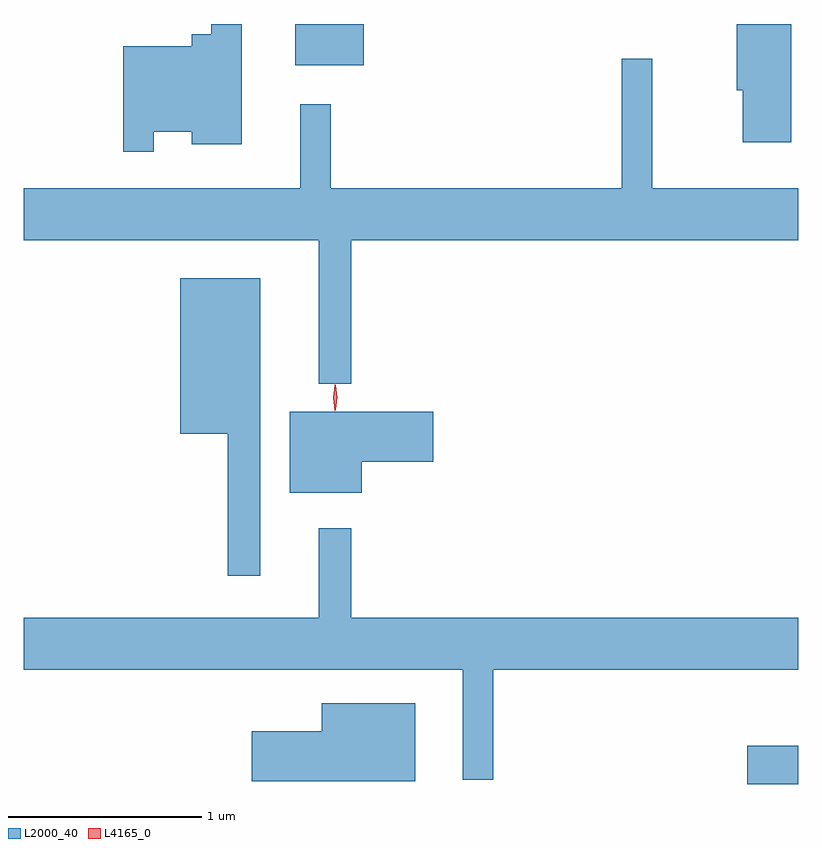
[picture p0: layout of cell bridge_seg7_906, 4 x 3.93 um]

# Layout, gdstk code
import gdstk
lib = gdstk.Library(unit=1e-6, precision=1e-09)
def R(c, l, rs):  # rectangles x0, y0, x1, y1
    for r in rs: c.add(gdstk.rectangle(r[:2], r[2:], *l))
def P(c, l, *ps):  # polygons
    for p in ps: c.add(gdstk.Polygon(p, *l))
L2000_40 = (2000, 40)
L4165_0 = (4165, 0)

bridge_seg7_906 = lib.new_cell('bridge_seg7_906')
R(bridge_seg7_906, L2000_40, [(578.976,1675.986,579.238,1676.184), (576.641,1679.701,576.994,1679.913)])
P(bridge_seg7_906, L2000_40, [(579.204,1679.913),(578.921,1679.913),(578.921,1679.571),(578.951,1679.571),(578.951,1679.301),(579.204,1679.301)],
  [(575.909,1679.356),(576.106,1679.356),(576.106,1679.291),(576.364,1679.291),(576.364,1679.913),(576.206,1679.913),(576.206,1679.859),(576.106,1679.859),(576.106,1679.799),(575.751,1679.799),(575.751,1679.253),(575.909,1679.253)],
  [(576.929,1678.796),(579.238,1678.796),(579.238,1679.064),(578.484,1679.064),(578.484,1679.733),(578.326,1679.733),(578.326,1679.064),(576.824,1679.064),(576.824,1679.498),(576.666,1679.498),(576.666,1679.064),(575.238,1679.064),(575.238,1678.796),(576.761,1678.796),(576.761,1678.053),(576.929,1678.053)],
  [(576.459,1678.599),(576.046,1678.599),(576.046,1677.796),(576.291,1677.796),(576.291,1677.063),(576.459,1677.063)],
  [(576.984,1677.651),(577.354,1677.651),(577.354,1677.909),(576.611,1677.909),(576.611,1677.491),(576.984,1677.491)],
  [(576.761,1677.308),(576.761,1676.844),(575.238,1676.844),(575.238,1676.576),(577.506,1676.576),(577.506,1676.008),(577.664,1676.008),(577.664,1676.576),(579.238,1676.576),(579.238,1676.844),(576.929,1676.844),(576.929,1677.308)],
  [(577.259,1676.404),(576.776,1676.404),(576.776,1676.259),(576.416,1676.259),(576.416,1676.001),(577.259,1676.001)])
P(bridge_seg7_906, L4165_0, [(576.848,1677.92),(576.848,1677.92),(576.838,1677.983),(576.848,1678.046),(576.848,1678.047),(576.849,1678.046),(576.858,1677.983),(576.849,1677.92)],
  [(576.845,1677.914),(576.836,1677.982),(576.844,1678.05),(576.845,1678.05),(576.846,1678.05),(576.855,1677.982),(576.846,1677.914),(576.846,1677.914)])

lib.write_gds('bridge_seg7_906.gds')
